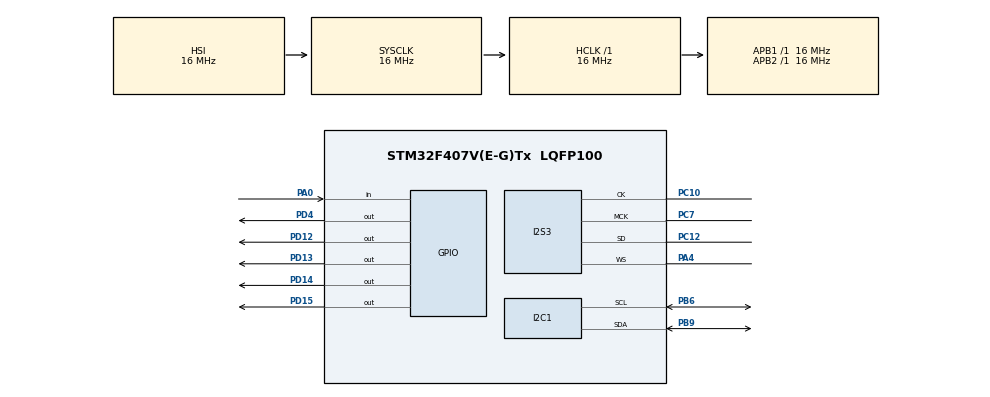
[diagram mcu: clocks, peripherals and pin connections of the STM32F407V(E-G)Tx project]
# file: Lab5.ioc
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Dma.Request0=SPI3_TX
Dma.SPI3_TX.0.Direction=DMA_MEMORY_TO_PERIPH
Dma.SPI3_TX.0.FIFOMode=DMA_FIFOMODE_ENABLE
Dma.SPI3_TX.0.FIFOThreshold=DMA_FIFO_THRESHOLD_FULL
Dma.SPI3_TX.0.Instance=DMA1_Stream5
Dma.SPI3_TX.0.MemBurst=DMA_MBURST_SINGLE
Dma.SPI3_TX.0.MemDataAlignment=DMA_MDATAALIGN_HALFWORD
Dma.SPI3_TX.0.MemInc=DMA_MINC_ENABLE
Dma.SPI3_TX.0.Mode=DMA_CIRCULAR
Dma.SPI3_TX.0.PeriphBurst=DMA_PBURST_SINGLE
Dma.SPI3_TX.0.PeriphDataAlignment=DMA_PDATAALIGN_HALFWORD
Dma.SPI3_TX.0.PeriphInc=DMA_PINC_DISABLE
Dma.SPI3_TX.0.Priority=DMA_PRIORITY_LOW
I2S3.AudioFreq=I2S_AUDIOFREQ_48K
I2S3.ErrorAudioFreq=-2.34 %
I2S3.FullDuplexMode=I2S_FULLDUPLEXMODE_DISABLE
I2S3.Instance=SPI$Index
I2S3.RealAudioFreq=46.875 KHz
I2S3.VirtualMode=I2S_MODE_MASTER
Mcu.Family=STM32F4
Mcu.Name=STM32F407V(E-G)Tx
Mcu.Package=LQFP100
NVIC.DMA1_Stream5_IRQn=true\:0\:0\:false\:false\:true\:false\:true\:true
NVIC.PriorityGroup=NVIC_PRIORITYGROUP_4
NVIC.TIM3_IRQn=true\:0\:0\:false\:false\:true\:true\:true\:true
PA0-WKUP.Signal=GPIO_Input
PA4.Mode=Half_Duplex_Master
PA4.Signal=I2S3_WS
PB6.Mode=I2C
PB6.Signal=I2C1_SCL
PB9.Mode=I2C
PB9.Signal=I2C1_SDA
PC10.Mode=Half_Duplex_Master
PC10.Signal=I2S3_CK
PC12.Mode=Half_Duplex_Master
PC12.Signal=I2S3_SD
PC7.Mode=Master_Clock_Activated
PC7.Signal=I2S3_MCK
PD12.Signal=GPIO_Output
PD13.Signal=GPIO_Output
PD14.Signal=GPIO_Output
PD15.Signal=GPIO_Output
PD4.Signal=GPIO_Output
ProjectManager.HeapSize=0x200
ProjectManager.StackSize=0x400
ProjectManager.TargetToolchain=STM32CubeIDE
RCC.AHBFreq_Value=16000000
RCC.APB1Freq_Value=16000000
RCC.APB2Freq_Value=16000000
RCC.CortexFreq_Value=16000000
RCC.HSE_VALUE=25000000
RCC.HSI_VALUE=16000000
RCC.LSE_VALUE=32768
RCC.SYSCLKFreq_VALUE=16000000
RCC.VCOOutputFreq_Value=192000000
TIM3.AutoReloadPreload=TIM_AUTORELOAD_PRELOAD_ENABLE
TIM3.Period=330
TIM3.Prescaler=16000
VP_TIM3_VS_ClockSourceINT.Mode=Internal
board=custom

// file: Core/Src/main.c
/* USER CODE BEGIN Header */
/**
  ******************************************************************************
  * @file           : main.c
  * @brief          : Main program body
  ******************************************************************************
  * @attention
  *
  * Copyright (c) 2025 STMicroelectronics.
  * All rights reserved.
  *
  * This software is licensed under terms that can be found in the LICENSE file
  * in the root directory of this software component.
  * If no LICENSE file comes with this software, it is provided AS-IS.
  *
  ******************************************************************************
  */
/* USER CODE END Header */
#include "main.h"

/* USER CODE BEGIN Includes */

#include <stdbool.h>

/* USER CODE END Includes */

/* USER CODE BEGIN PTD */

typedef enum
{
	C4 = 0x00, // all next 0x00+1
	C5, D5, E5, F5, G5, A5, B5,
	C6, D6, E6, F6, G6, A6, B6,
	C7
} soundToneType;

/* USER CODE END PTD */

/* USER CODE BEGIN PD */

#define CS43L22_I2C_ADDRESS 	0x94
#define I2C_TIMEOUT 			10

/* USER CODE END PD */

I2C_HandleTypeDef hi2c1;

I2S_HandleTypeDef hi2s3;
DMA_HandleTypeDef hdma_spi3_tx;

TIM_HandleTypeDef htim3;

/* USER CODE BEGIN PV */

int16_t dataI2S[100] = {0};

uint8_t led_state = 0;

/* USER CODE END PV */

void SystemClock_Config(void);
static void MX_GPIO_Init(void);
static void MX_DMA_Init(void);
static void MX_I2C1_Init(void);
static void MX_I2S3_Init(void);
static void MX_TIM3_Init(void);

/* USER CODE BEGIN 0 */

void CS43L22_Init(void)
{
	HAL_GPIO_WritePin(GPIOD, GPIO_PIN_4, 1);

	uint8_t buffer[2];

	buffer[0] = 0x0D;
	buffer[1] = 0x01;
	HAL_I2C_Master_Transmit(&hi2c1, CS43L22_I2C_ADDRESS, (uint8_t *) &buffer, 2, I2C_TIMEOUT);

	buffer[0] = 0x00;
	buffer[1] = 0x99;
	HAL_I2C_Master_Transmit(&hi2c1, CS43L22_I2C_ADDRESS, (uint8_t *) &buffer, 2, I2C_TIMEOUT);

	buffer[0] = 0x47;
	buffer[1] = 0x80;
	HAL_I2C_Master_Transmit(&hi2c1, CS43L22_I2C_ADDRESS, (uint8_t *) &buffer, 2, I2C_TIMEOUT);

	buffer[0] = 0x32;
	buffer[1] = 0xFF;
	HAL_I2C_Master_Transmit(&hi2c1, CS43L22_I2C_ADDRESS, (uint8_t *) &buffer, 2, I2C_TIMEOUT);

	buffer[0] = 0x32;
	buffer[1] = 0x7F;
	HAL_I2C_Master_Transmit(&hi2c1, CS43L22_I2C_ADDRESS, (uint8_t *) &buffer, 2, I2C_TIMEOUT);

	buffer[0] = 0x00;
	buffer[1] = 0x00;
	HAL_I2C_Master_Transmit(&hi2c1, CS43L22_I2C_ADDRESS, (uint8_t *) &buffer, 2, I2C_TIMEOUT);

	buffer[0] = 0x04;
	buffer[1] = 0xAF;
	HAL_I2C_Master_Transmit(&hi2c1, CS43L22_I2C_ADDRESS, (uint8_t *) &buffer, 2, I2C_TIMEOUT);

	buffer[0] = 0x0D;
	buffer[1] = 0x70;
	HAL_I2C_Master_Transmit(&hi2c1, CS43L22_I2C_ADDRESS, (uint8_t *) &buffer, 2, I2C_TIMEOUT);

	buffer[0] = 0x05;
	buffer[1] = 0x81;
	HAL_I2C_Master_Transmit(&hi2c1, CS43L22_I2C_ADDRESS, (uint8_t *) &buffer, 2, I2C_TIMEOUT);

	buffer[0] = 0x06;
	buffer[1] = 0x07;
	HAL_I2C_Master_Transmit(&hi2c1, CS43L22_I2C_ADDRESS, (uint8_t *) &buffer, 2, I2C_TIMEOUT);

	buffer[0] = 0x0A;
	buffer[1] = 0x00;
	HAL_I2C_Master_Transmit(&hi2c1, CS43L22_I2C_ADDRESS, (uint8_t *) &buffer, 2, I2C_TIMEOUT);

	buffer[0] = 0x27;
	buffer[1] = 0x00;
	HAL_I2C_Master_Transmit(&hi2c1, CS43L22_I2C_ADDRESS, (uint8_t *) &buffer, 2, I2C_TIMEOUT);

	buffer[0] = 0x1A;
	buffer[1] = 0x0A;
	HAL_I2C_Master_Transmit(&hi2c1, CS43L22_I2C_ADDRESS, (uint8_t *) &buffer, 2, I2C_TIMEOUT);

	buffer[0] = 0x1B;
	buffer[1] = 0x0A;
	HAL_I2C_Master_Transmit(&hi2c1, CS43L22_I2C_ADDRESS, (uint8_t *) &buffer, 2, I2C_TIMEOUT);

	buffer[0] = 0x1F;
	buffer[1] = 0x0F;
	HAL_I2C_Master_Transmit(&hi2c1, CS43L22_I2C_ADDRESS, (uint8_t *) &buffer, 2, I2C_TIMEOUT);

	buffer[0] = 0x02;
	buffer[1] = 0x9E;
	HAL_I2C_Master_Transmit(&hi2c1, CS43L22_I2C_ADDRESS, (uint8_t *) &buffer, 2, I2C_TIMEOUT);

}

void CS43L22_Beep(soundToneType pitch, uint32_t delay)
{
	uint8_t buffer[2];

	// Set volume
	buffer[0] = 0x1D;
	buffer[1] = 0x00;
	HAL_I2C_Master_Transmit(&hi2c1, CS43L22_I2C_ADDRESS, (uint8_t *) &buffer, 2, I2C_TIMEOUT);

	// Set note
	buffer[0] = 0x1C;
	buffer[1] = ((uint8_t)pitch << 4); // value from enum to upper bits
	HAL_I2C_Master_Transmit(&hi2c1, CS43L22_I2C_ADDRESS, (uint8_t *) &buffer, 2, I2C_TIMEOUT);

	// Enable continuous mode (start)
	buffer[0] = 0x1E;
	buffer[1] = 0xC0;
	HAL_I2C_Master_Transmit(&hi2c1, CS43L22_I2C_ADDRESS, (uint8_t *) &buffer, 2, I2C_TIMEOUT);

	// PLaying delay ms
	HAL_Delay(delay);

	// Disable continuous mode (stop)
	buffer[0] = 0x1E;
	buffer[1] = 0x00;
	HAL_I2C_Master_Transmit(&hi2c1, CS43L22_I2C_ADDRESS, (uint8_t *) &buffer, 2, I2C_TIMEOUT);
}

void HAL_TIM_PeriodElapsedCallback(TIM_HandleTypeDef* htim)
{

	if (htim -> Instance == TIM3)
		{
			led_state = (led_state + 1) % 4;

			HAL_GPIO_WritePin(GPIOD, GPIO_PIN_12, (led_state == 0) ? 1 : 0);
			HAL_GPIO_WritePin(GPIOD, GPIO_PIN_13, (led_state == 1) ? 1 : 0);
			HAL_GPIO_WritePin(GPIOD, GPIO_PIN_14, (led_state == 2) ? 1 : 0);
			HAL_GPIO_WritePin(GPIOD, GPIO_PIN_15, (led_state == 3) ? 1 : 0);
		}
}

/* USER CODE END 0 */

int main(void)
{

  /* MCU Configuration--------------------------------------------------------*/

  /* Reset of all peripherals, Initializes the Flash interface and the Systick. */
  HAL_Init();

  /* Configure the system clock */
  SystemClock_Config();

  /* Initialize all configured peripherals */
  MX_GPIO_Init();
  MX_DMA_Init();
  MX_I2C1_Init();
  MX_I2S3_Init();
  MX_TIM3_Init();
  /* USER CODE BEGIN 2 */

  CS43L22_Init();

  HAL_I2S_Transmit_DMA(&hi2s3, (uint16_t *) dataI2S, 100);

  /* USER CODE END 2 */

  /* Infinite loop */
  /* USER CODE BEGIN WHILE */
  while (1)
  {
	  // Wait user button press
	  bool buttonIsPressed = false;

	  while (!buttonIsPressed)
	  {
	  	  if(HAL_GPIO_ReadPin(GPIOA, GPIO_PIN_0) == 1)
	  	  {
	  		  buttonIsPressed = true;
	  		  HAL_Delay(500);
	   	  }
	  }
	  // Start TIM
	  HAL_TIM_Base_Start_IT(&htim3);

	  // First pin ON
	  HAL_GPIO_WritePin(GPIOD, GPIO_PIN_12, 1);

	  // Beethoven symphony melody
	  CS43L22_Beep(E5, 300);
	  HAL_Delay(30);
	  CS43L22_Beep(E5, 300);
	  HAL_Delay(30);
	  CS43L22_Beep(F5, 300);
	  HAL_Delay(30);
	  CS43L22_Beep(G5, 300);
	  HAL_Delay(30);

	  CS43L22_Beep(G5, 300);
	  HAL_Delay(30);
	  CS43L22_Beep(F5, 300);
	  HAL_Delay(30);
	  CS43L22_Beep(E5, 300);
	  HAL_Delay(30);
	  CS43L22_Beep(D5, 300);
	  HAL_Delay(30);

	  CS43L22_Beep(C5, 300);
	  HAL_Delay(30);
	  CS43L22_Beep(C5, 300);
	  HAL_Delay(30);
	  CS43L22_Beep(D5, 300);
	  HAL_Delay(30);
	  CS43L22_Beep(E5, 300);
	  HAL_Delay(30);

	  CS43L22_Beep(E5, 300);
	  HAL_Delay(30);
	  CS43L22_Beep(D5, 300);
	  HAL_Delay(30);

	  // Stop timer (because timer 330ms), next manual led setting
	  HAL_TIM_Base_Stop_IT(&htim3);
	  HAL_GPIO_WritePin(GPIOD, GPIO_PIN_14, 1);
	  CS43L22_Beep(D5, 600);
	  HAL_Delay(30);

	  // Reset all
	  led_state = 0;
	  HAL_GPIO_WritePin(GPIOD, GPIO_PIN_12, 0);
	  HAL_GPIO_WritePin(GPIOD, GPIO_PIN_13, 0);
	  HAL_GPIO_WritePin(GPIOD, GPIO_PIN_14, 0);
	  HAL_GPIO_WritePin(GPIOD, GPIO_PIN_15, 0);

    /* USER CODE END WHILE */

  }
}

void SystemClock_Config(void)
{
  RCC_OscInitTypeDef RCC_OscInitStruct = {0};
  RCC_ClkInitTypeDef RCC_ClkInitStruct = {0};

  /** Macro to configure the PLL multiplication factor
  */
  __HAL_RCC_PLL_PLLM_CONFIG(16);

  /** Macro to configure the PLL clock source
  */
  __HAL_RCC_PLL_PLLSOURCE_CONFIG(RCC_PLLSOURCE_HSI);

  /** Configure the main internal regulator output voltage
  */
  __HAL_RCC_PWR_CLK_ENABLE();
  __HAL_PWR_VOLTAGESCALING_CONFIG(PWR_REGULATOR_VOLTAGE_SCALE1);

  /** Initializes the RCC Oscillators according to the specified parameters
  * in the RCC_OscInitTypeDef structure.
  */
  RCC_OscInitStruct.OscillatorType = RCC_OSCILLATORTYPE_HSI;
  RCC_OscInitStruct.HSIState = RCC_HSI_ON;
  RCC_OscInitStruct.HSICalibrationValue = RCC_HSICALIBRATION_DEFAULT;
  RCC_OscInitStruct.PLL.PLLState = RCC_PLL_NONE;
  RCC_OscInitStruct.PLL.PLLSource = RCC_PLLSOURCE_HSI;
  if (HAL_RCC_OscConfig(&RCC_OscInitStruct) != HAL_OK)
  {
    Error_Handler();
  }

  /** Initializes the CPU, AHB and APB buses clocks
  */
  RCC_ClkInitStruct.ClockType = RCC_CLOCKTYPE_HCLK|RCC_CLOCKTYPE_SYSCLK
                              |RCC_CLOCKTYPE_PCLK1|RCC_CLOCKTYPE_PCLK2;
  RCC_ClkInitStruct.SYSCLKSource = RCC_SYSCLKSOURCE_HSI;
  RCC_ClkInitStruct.AHBCLKDivider = RCC_SYSCLK_DIV1;
  RCC_ClkInitStruct.APB1CLKDivider = RCC_HCLK_DIV1;
  RCC_ClkInitStruct.APB2CLKDivider = RCC_HCLK_DIV1;

  if (HAL_RCC_ClockConfig(&RCC_ClkInitStruct, FLASH_LATENCY_0) != HAL_OK)
  {
    Error_Handler();
  }
}

static void MX_I2C1_Init(void)
{

  hi2c1.Instance = I2C1;
  hi2c1.Init.ClockSpeed = 100000;
  hi2c1.Init.DutyCycle = I2C_DUTYCYCLE_2;
  hi2c1.Init.OwnAddress1 = 0;
  hi2c1.Init.AddressingMode = I2C_ADDRESSINGMODE_7BIT;
  hi2c1.Init.DualAddressMode = I2C_DUALADDRESS_DISABLE;
  hi2c1.Init.OwnAddress2 = 0;
  hi2c1.Init.GeneralCallMode = I2C_GENERALCALL_DISABLE;
  hi2c1.Init.NoStretchMode = I2C_NOSTRETCH_DISABLE;
  if (HAL_I2C_Init(&hi2c1) != HAL_OK)
  {
    Error_Handler();
  }

}

static void MX_I2S3_Init(void)
{

  hi2s3.Instance = SPI3;
  hi2s3.Init.Mode = I2S_MODE_MASTER_TX;
  hi2s3.Init.Standard = I2S_STANDARD_PHILIPS;
  hi2s3.Init.DataFormat = I2S_DATAFORMAT_16B;
  hi2s3.Init.MCLKOutput = I2S_MCLKOUTPUT_ENABLE;
  hi2s3.Init.AudioFreq = I2S_AUDIOFREQ_48K;
  hi2s3.Init.CPOL = I2S_CPOL_LOW;
  hi2s3.Init.ClockSource = I2S_CLOCK_PLL;
  hi2s3.Init.FullDuplexMode = I2S_FULLDUPLEXMODE_DISABLE;
  if (HAL_I2S_Init(&hi2s3) != HAL_OK)
  {
    Error_Handler();
  }

}

static void MX_TIM3_Init(void)
{

  TIM_ClockConfigTypeDef sClockSourceConfig = {0};
  TIM_MasterConfigTypeDef sMasterConfig = {0};

  htim3.Instance = TIM3;
  htim3.Init.Prescaler = 16000;
  htim3.Init.CounterMode = TIM_COUNTERMODE_UP;
  htim3.Init.Period = 330;
  htim3.Init.ClockDivision = TIM_CLOCKDIVISION_DIV1;
  htim3.Init.AutoReloadPreload = TIM_AUTORELOAD_PRELOAD_ENABLE;
  if (HAL_TIM_Base_Init(&htim3) != HAL_OK)
  {
    Error_Handler();
  }
  sClockSourceConfig.ClockSource = TIM_CLOCKSOURCE_INTERNAL;
  if (HAL_TIM_ConfigClockSource(&htim3, &sClockSourceConfig) != HAL_OK)
  {
    Error_Handler();
  }
  sMasterConfig.MasterOutputTrigger = TIM_TRGO_RESET;
  sMasterConfig.MasterSlaveMode = TIM_MASTERSLAVEMODE_DISABLE;
  if (HAL_TIMEx_MasterConfigSynchronization(&htim3, &sMasterConfig) != HAL_OK)
  {
    Error_Handler();
  }

}

static void MX_DMA_Init(void)
{

  /* DMA controller clock enable */
  __HAL_RCC_DMA1_CLK_ENABLE();

  /* DMA interrupt init */
  /* DMA1_Stream5_IRQn interrupt configuration */
  HAL_NVIC_SetPriority(DMA1_Stream5_IRQn, 0, 0);
  HAL_NVIC_EnableIRQ(DMA1_Stream5_IRQn);

}

static void MX_GPIO_Init(void)
{
  GPIO_InitTypeDef GPIO_InitStruct = {0};

  /* GPIO Ports Clock Enable */
  __HAL_RCC_GPIOA_CLK_ENABLE();
  __HAL_RCC_GPIOD_CLK_ENABLE();
  __HAL_RCC_GPIOC_CLK_ENABLE();
  __HAL_RCC_GPIOB_CLK_ENABLE();

  /*Configure GPIO pin Output Level */
  HAL_GPIO_WritePin(GPIOD, GPIO_PIN_12|GPIO_PIN_13|GPIO_PIN_14|GPIO_PIN_15
                          |GPIO_PIN_4, GPIO_PIN_RESET);

  /*Configure GPIO pin : PA0 */
  GPIO_InitStruct.Pin = GPIO_PIN_0;
  GPIO_InitStruct.Mode = GPIO_MODE_INPUT;
  GPIO_InitStruct.Pull = GPIO_NOPULL;
  HAL_GPIO_Init(GPIOA, &GPIO_InitStruct);

  /*Configure GPIO pins : PD12 PD13 PD14 PD15
                           PD4 */
  GPIO_InitStruct.Pin = GPIO_PIN_12|GPIO_PIN_13|GPIO_PIN_14|GPIO_PIN_15
                          |GPIO_PIN_4;
  GPIO_InitStruct.Mode = GPIO_MODE_OUTPUT_PP;
  GPIO_InitStruct.Pull = GPIO_NOPULL;
  GPIO_InitStruct.Speed = GPIO_SPEED_FREQ_LOW;
  HAL_GPIO_Init(GPIOD, &GPIO_InitStruct);

}

void Error_Handler(void)
{
  __disable_irq();
  while (1)
  {
  }
}
